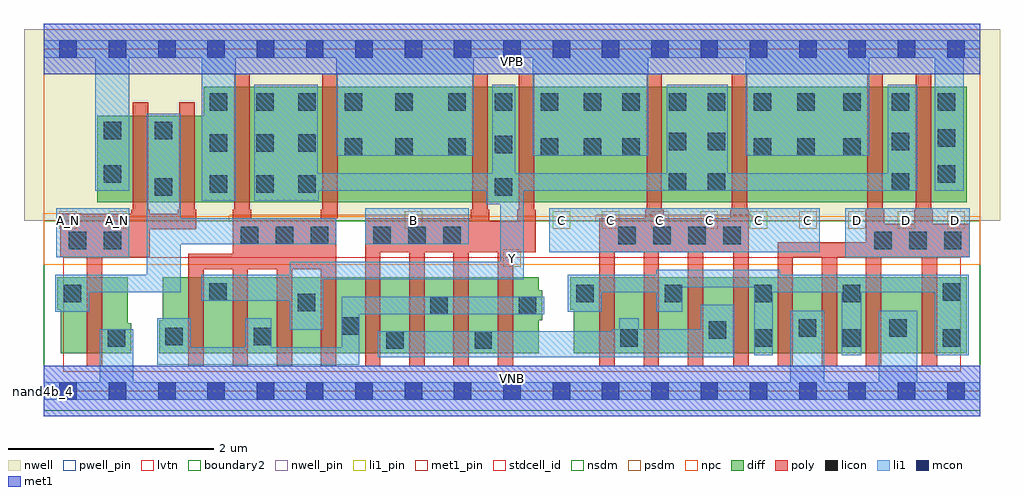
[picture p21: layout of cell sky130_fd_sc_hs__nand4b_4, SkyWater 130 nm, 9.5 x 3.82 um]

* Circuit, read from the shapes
.subckt sky130_fd_sc_hs__nand4b_4 A_N B C D VGND VNB VPB VPWR Y
XM1 VGND A_N n1 VNB sky130_fd_pr__nfet_01v8_lvt w=0.74 l=0.15
XM2 Y n1 n2 VNB sky130_fd_pr__nfet_01v8_lvt w=0.74 l=0.15 m=4
XM3 n3 B n2 VNB sky130_fd_pr__nfet_01v8_lvt w=0.74 l=0.15 m=4
XM4 n3 C n4 VNB sky130_fd_pr__nfet_01v8_lvt w=0.74 l=0.15 m=4
XM5 VGND D n4 VNB sky130_fd_pr__nfet_01v8_lvt w=0.74 l=0.15 m=4
XM6 n1 A_N VPWR VPB sky130_fd_pr__pfet_01v8 w=0.84 l=0.15 m=2
XM7 Y n1 VPWR VPB sky130_fd_pr__pfet_01v8 w=1.12 l=0.15 m=2
XM8 Y B VPWR VPB sky130_fd_pr__pfet_01v8 w=1.12 l=0.15 m=2
XM9 Y C VPWR VPB sky130_fd_pr__pfet_01v8 w=1.12 l=0.15 m=2
XM10 Y D VPWR VPB sky130_fd_pr__pfet_01v8 w=1.12 l=0.15 m=2
.ends

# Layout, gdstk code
import gdstk
lib = gdstk.Library(unit=1e-6, precision=1e-09)
def R(c, l, rs):  # rectangles x0, y0, x1, y1
    for r in rs: c.add(gdstk.rectangle(r[:2], r[2:], *l))
def A(c, l, x, y, w, h, nx, ny, dx, dy):  # array of equal rectangles
    R(c, l, [(x+i*dx, y+j*dy, x+i*dx+w, y+j*dy+h) for i in range(nx) for j in range(ny)])
def P(c, l, *ps):  # polygons
    for p in ps: c.add(gdstk.Polygon(p, *l))
nwell_pin = (64, 16)
nwell = (64, 20)
diff = (65, 20)
poly = (66, 20)
licon = (66, 44)
li1_pin = (67, 16)
li1 = (67, 20)
mcon = (67, 44)
met1_pin = (68, 16)
met1 = (68, 20)
stdcell_id = (81, 4)
nsdm = (93, 44)
psdm = (94, 20)
npc = (95, 20)
pwell_pin = (122, 16)
lvtn = (125, 44)
boundary2 = (236, 0)

sky130_fd_sc_hs__nand4b_ = lib.new_cell('sky130_fd_sc_hs__nand4b_4')
R(sky130_fd_sc_hs__nand4b_, nwell_pin, [(0,3.085,9.12,3.33)])
R(sky130_fd_sc_hs__nand4b_, nwell, [(-0.19,1.66,9.31,3.52)])
P(sky130_fd_sc_hs__nand4b_, diff, [(0.855,0.66),(0.82,0.66),(0.82,1.11),(0.135,1.11),(0.135,0.79),(0.17,0.79),(0.17,0.37),(0.855,0.37)],
  [(4.855,0.98),(4.82,0.98),(4.82,1.11),(1.16,1.11),(1.16,0.69),(1.125,0.69),(1.125,0.37),(4.82,0.37),(4.82,0.69),(4.855,0.69)],
  [(8.985,2.96),(1.56,2.96),(1.56,2.68),(0.525,2.68),(0.525,1.84),(8.985,1.84)],
  [(8.985,1.11),(5.125,1.11),(5.125,0.79),(5.16,0.79),(5.16,0.37),(8.985,0.37)])
P(sky130_fd_sc_hs__nand4b_, poly, [(9.015,1.63),(8.655,1.63),(8.655,1.765),(8.64,1.765),(8.64,3.09),(8.49,3.09),(8.49,1.765),(8.475,1.765),(8.475,1.63),(8.185,1.63),(8.185,1.765),(8.17,1.765),(8.17,3.09),(8.02,3.09),(8.02,1.765),(8.005,1.765),(8.005,1.45),(7.145,1.45),(7.145,0.24),(7.295,0.24),(7.295,1.3),(7.575,1.3),(7.575,0.24),(7.725,0.24),(7.725,1.3),(8.005,1.3),(8.005,0.24),(8.155,0.24),(8.155,1.3),(8.55,1.3),(8.55,0.24),(8.7,0.24),(8.7,1.3),(9.015,1.3)],
  [(6.865,1.765),(6.85,1.765),(6.85,3.09),(6.7,3.09),(6.7,1.765),(6.685,1.765),(6.685,1.68),(6.035,1.68),(6.035,1.765),(6.02,1.765),(6.02,3.09),(5.87,3.09),(5.87,1.765),(5.855,1.765),(5.855,1.68),(5.41,1.68),(5.41,0.24),(5.56,0.24),(5.56,1.35),(5.84,1.35),(5.84,0.24),(5.99,0.24),(5.99,1.35),(6.27,1.35),(6.27,0.24),(6.42,0.24),(6.42,1.35),(6.715,1.35),(6.715,0.24),(6.865,0.24)],
  [(4.79,1.765),(4.775,1.765),(4.775,3.09),(4.625,3.09),(4.625,1.765),(4.61,1.765),(4.61,1.655),(4.34,1.655),(4.34,1.765),(4.325,1.765),(4.325,3.09),(4.175,3.09),(4.175,1.765),(4.16,1.765),(4.16,1.68),(3.13,1.68),(3.13,0.24),(3.28,0.24),(3.28,1.35),(3.56,1.35),(3.56,0.24),(3.71,0.24),(3.71,1.35),(3.99,1.35),(3.99,0.24),(4.14,0.24),(4.14,1.35),(4.42,1.35),(4.42,0.24),(4.57,0.24),(4.57,1.35),(4.79,1.35)],
  [(2.865,3.09),(2.715,3.09),(2.715,1.765),(2.7,1.765),(2.7,1.68),(2.02,1.68),(2.02,1.765),(2.005,1.765),(2.005,3.09),(1.855,3.09),(1.855,1.765),(1.84,1.765),(1.84,1.335),(1.41,1.335),(1.41,0.24),(1.56,0.24),(1.56,1.185),(1.84,1.185),(1.84,0.24),(1.99,0.24),(1.99,1.185),(2.27,1.185),(2.27,0.24),(2.42,0.24),(2.42,1.185),(2.7,1.185),(2.7,0.24),(2.85,0.24),(2.85,1.68),(2.865,1.68)],
  [(1.485,1.765),(1.47,1.765),(1.47,2.81),(1.32,2.81),(1.32,1.765),(1.305,1.765),(1.305,1.725),(1.035,1.725),(1.035,1.765),(1.02,1.765),(1.02,2.81),(0.87,2.81),(0.87,1.765),(0.855,1.765),(0.855,1.725),(0.165,1.725),(0.165,1.3),(0.42,1.3),(0.42,0.24),(0.57,0.24),(0.57,1.3),(1.035,1.3),(1.035,1.575),(1.485,1.575)])
A(sky130_fd_sc_hs__nand4b_, licon, 8.085, 1.38, 0.17, 0.17, 3, 1, 0.34, 0)
A(sky130_fd_sc_hs__nand4b_, licon, 1.92, 1.43, 0.17, 0.17, 3, 1, 0.34, 0)
A(sky130_fd_sc_hs__nand4b_, licon, 3.21, 1.43, 0.17, 0.17, 3, 1, 0.34, 0)
A(sky130_fd_sc_hs__nand4b_, licon, 5.595, 1.43, 0.17, 0.17, 4, 1, 0.34, 0)
A(sky130_fd_sc_hs__nand4b_, licon, 1.62, 1.93, 0.17, 0.17, 1, 3, 0, 0.4)
A(sky130_fd_sc_hs__nand4b_, licon, 2.07, 1.93, 0.17, 0.17, 1, 3, 0, 0.4)
A(sky130_fd_sc_hs__nand4b_, licon, 2.48, 1.93, 0.17, 0.17, 1, 3, 0, 0.4)
A(sky130_fd_sc_hs__nand4b_, licon, 8.705, 2.03, 0.17, 0.17, 1, 3, 0, 0.35)
A(sky130_fd_sc_hs__nand4b_, licon, 3.94, 2.73, 0.17, 0.17, 3, 1, 0.45, 0)
R(sky130_fd_sc_hs__nand4b_, licon, [(3.335,0.41,3.505,0.58), (4.195,0.41,4.365,0.58), (0.625,0.43,0.795,0.6), (5.615,0.43,5.785,0.6), (6.92,0.43,7.09,0.6), (7.78,0.43,7.95,0.6), (8.755,0.43,8.925,0.6), (1.185,0.445,1.355,0.615), (2.045,0.445,2.215,0.615), (6.475,0.51,6.645,0.68), (7.35,0.53,7.52,0.7), (8.23,0.53,8.4,0.7), (2.905,0.55,3.075,0.72), (3.765,0.75,3.935,0.92), (4.625,0.75,4.795,0.92), (2.475,0.775,2.645,0.945), (0.195,0.865,0.365,1.035), (5.185,0.865,5.355,1.035), (6.045,0.865,6.215,1.035), (6.92,0.865,7.09,1.035), (7.78,0.865,7.95,1.035), (1.615,0.88,1.785,1.05), (8.755,0.88,8.925,1.05), (0.245,1.38,0.415,1.55), (0.585,1.38,0.755,1.55), (1.085,1.9,1.255,2.07), (4.39,1.9,4.56,2.07), (6.085,1.95,6.255,2.12), (6.465,1.95,6.635,2.12), (8.255,1.95,8.425,2.12), (0.585,2.03,0.755,2.2), (2.93,2.29,3.1,2.46), (3.425,2.29,3.595,2.46), (3.94,2.29,4.11,2.46), (4.84,2.29,5.01,2.46), (5.26,2.29,5.43,2.46), (5.635,2.29,5.805,2.46), (6.915,2.29,7.085,2.46), (7.335,2.29,7.505,2.46), (7.785,2.29,7.955,2.46), (4.39,2.315,4.56,2.485), (6.085,2.345,6.255,2.515), (6.465,2.345,6.635,2.515), (8.255,2.345,8.425,2.515), (0.585,2.45,0.755,2.62), (1.085,2.45,1.255,2.62), (2.93,2.73,3.1,2.9), (3.425,2.73,3.595,2.9), (5.26,2.73,5.43,2.9), (5.635,2.73,5.805,2.9), (6.085,2.73,6.255,2.9), (6.465,2.73,6.635,2.9), (6.915,2.73,7.085,2.9), (7.335,2.73,7.505,2.9), (7.785,2.73,7.955,2.9), (8.255,2.73,8.425,2.9)])
A(sky130_fd_sc_hs__nand4b_, li1_pin, 4.955, 1.58, 0.17, 0.17, 9, 1, 0.48, 0)
R(sky130_fd_sc_hs__nand4b_, li1_pin, [(4.475,1.21,4.645,1.38), (0.155,1.58,0.325,1.75), (0.635,1.58,0.805,1.75), (3.515,1.58,3.685,1.75)])
R(sky130_fd_sc_hs__nand4b_, li1, [(0.125,1.3,0.835,1.78), (7.805,1.3,9.015,1.78), (4.925,1.35,7.555,1.78), (3.13,1.43,4.14,1.78)])
P(sky130_fd_sc_hs__nand4b_, li1, [(9.12,0.085),(8.505,0.085),(8.505,0.78),(8.13,0.78),(8.13,0.085),(7.6,0.085),(7.6,0.78),(7.27,0.78),(7.27,0.085),(0.875,0.085),(0.875,0.6),(0.545,0.6),(0.545,0.085),(0,0.085),(0,-0.085),(9.12,-0.085)],
  [(2.85,1.68),(1.335,1.68),(1.335,2.7),(1.005,2.7),(1.005,1.13),(0.115,1.13),(0.115,0.77),(0.445,0.77),(0.445,0.96),(1.335,0.96),(1.335,1.43),(2.85,1.43)],
  [(4.875,0.92),(2.905,0.92),(2.905,0.425),(2.215,0.425),(2.215,0.71),(1.965,0.71),(1.965,0.425),(1.435,0.425),(1.435,0.71),(1.105,0.71),(1.105,0.255),(3.075,0.255),(3.075,0.75),(4.875,0.75)],
  [(9.005,1.13),(7.17,1.13),(7.17,1.18),(5.965,1.18),(5.965,1.13),(5.105,1.13),(5.105,0.77),(5.435,0.77),(5.435,0.96),(5.965,0.96),(5.965,0.77),(6.215,0.77),(6.215,1.01),(6.92,1.01),(6.92,0.35),(7.1,0.35),(7.1,0.96),(7.77,0.96),(7.77,0.35),(7.96,0.35),(7.96,0.96),(8.675,0.96),(8.675,0.35),(9.005,0.35)],
  [(6.725,0.84),(6.395,0.84),(6.395,0.6),(5.795,0.6),(5.795,0.71),(5.605,0.71),(5.605,0.6),(5.535,0.6),(5.535,0.58),(3.255,0.58),(3.255,0.33),(6.725,0.33)],
  [(8.505,2.98),(8.215,2.98),(8.215,2.12),(6.66,2.12),(6.66,2.98),(6.065,2.98),(6.065,2.12),(4.59,2.12),(4.59,2.98),(4.37,2.98),(4.37,2.12),(2.67,2.12),(2.67,2.98),(2.05,2.98),(2.05,1.85),(2.68,1.85),(2.68,1.95),(4.31,1.95),(4.31,1.82),(4.445,1.82),(4.445,1.26),(2.395,1.26),(2.395,1.13),(1.535,1.13),(1.535,0.88),(2.395,0.88),(2.395,0.595),(2.725,0.595),(2.725,1.09),(4.675,1.09),(4.675,1.95),(8.505,1.95)],
  [(9.12,3.415),(0,3.415),(0,3.245),(0.505,3.245),(0.505,1.95),(0.835,1.95),(0.835,3.245),(1.54,3.245),(1.54,1.85),(1.87,1.85),(1.87,3.245),(2.85,3.245),(2.85,2.29),(4.19,2.29),(4.19,3.245),(4.76,3.245),(4.76,2.29),(5.885,2.29),(5.885,3.245),(6.835,3.245),(6.835,2.29),(8.035,2.29),(8.035,3.245),(8.675,3.245),(8.675,1.95),(8.955,1.95),(8.955,3.245),(9.12,3.245)])
A(sky130_fd_sc_hs__nand4b_, mcon, 0.155, -0.085, 0.17, 0.17, 19, 2, 0.48, 3.33)
R(sky130_fd_sc_hs__nand4b_, met1_pin, [(0,0,9.12,0.245), (0,3.085,9.12,3.33)])
R(sky130_fd_sc_hs__nand4b_, met1, [(0,-0.245,9.12,0.245), (0,3.085,9.12,3.575)])
R(sky130_fd_sc_hs__nand4b_, stdcell_id, [(0,0,9.12,3.33)])
R(sky130_fd_sc_hs__nand4b_, nsdm, [(0,-0.19,9.12,1.66)])
P(sky130_fd_sc_hs__nand4b_, psdm, [(9.12,3.52),(0,3.52),(0,1.66),(1.81,1.66),(1.81,1.71),(4.17,1.71),(4.17,1.66),(5.375,1.66),(5.375,1.71),(6.895,1.71),(6.895,1.66),(9.12,1.66)])
P(sky130_fd_sc_hs__nand4b_, npc, [(9.12,1.7),(0.385,1.7),(0.385,1.73),(0,1.73),(0,1.23),(9.12,1.23)])
R(sky130_fd_sc_hs__nand4b_, pwell_pin, [(0,0,9.12,0.245)])
R(sky130_fd_sc_hs__nand4b_, lvtn, [(0.19,0.19,8.93,1.3)])
R(sky130_fd_sc_hs__nand4b_, boundary2, [(0,0,9.12,3.33)])
sky130_fd_sc_hs__nand4b_.add(gdstk.Label('nand4b_4', (0,0), layer=83, texttype=44))
sky130_fd_sc_hs__nand4b_.add(gdstk.Label('VNB', (4.56,0.123), layer=64, texttype=59))
sky130_fd_sc_hs__nand4b_.add(gdstk.Label('VPB', (4.56,3.208), layer=64, texttype=5))
sky130_fd_sc_hs__nand4b_.add(gdstk.Label('VPWR', (4.56,3.208), layer=68, texttype=5))
sky130_fd_sc_hs__nand4b_.add(gdstk.Label('VGND', (4.56,0.123), layer=68, texttype=5))
sky130_fd_sc_hs__nand4b_.add(gdstk.Label('A_N', (0.24,1.665), layer=67, texttype=5))
sky130_fd_sc_hs__nand4b_.add(gdstk.Label('A_N', (0.72,1.665), layer=67, texttype=5))
sky130_fd_sc_hs__nand4b_.add(gdstk.Label('C', (5.04,1.665), layer=67, texttype=5))
sky130_fd_sc_hs__nand4b_.add(gdstk.Label('C', (5.52,1.665), layer=67, texttype=5))
sky130_fd_sc_hs__nand4b_.add(gdstk.Label('C', (6,1.665), layer=67, texttype=5))
sky130_fd_sc_hs__nand4b_.add(gdstk.Label('C', (6.48,1.665), layer=67, texttype=5))
sky130_fd_sc_hs__nand4b_.add(gdstk.Label('C', (6.96,1.665), layer=67, texttype=5))
sky130_fd_sc_hs__nand4b_.add(gdstk.Label('C', (7.44,1.665), layer=67, texttype=5))
sky130_fd_sc_hs__nand4b_.add(gdstk.Label('B', (3.6,1.665), layer=67, texttype=5))
sky130_fd_sc_hs__nand4b_.add(gdstk.Label('Y', (4.56,1.295), layer=67, texttype=5))
sky130_fd_sc_hs__nand4b_.add(gdstk.Label('D', (7.92,1.665), layer=67, texttype=5))
sky130_fd_sc_hs__nand4b_.add(gdstk.Label('D', (8.4,1.665), layer=67, texttype=5))
sky130_fd_sc_hs__nand4b_.add(gdstk.Label('D', (8.88,1.665), layer=67, texttype=5))

lib.write_gds('sky130_fd_sc_hs__nand4b_4.gds')
